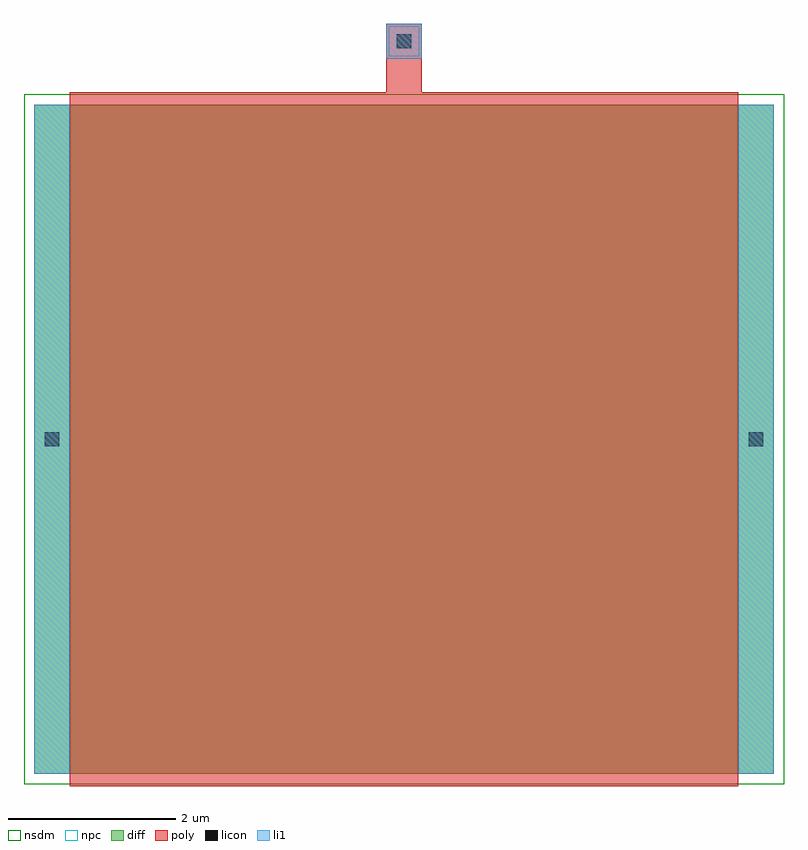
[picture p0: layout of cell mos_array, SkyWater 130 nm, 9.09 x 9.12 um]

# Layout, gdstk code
import gdstk
lib = gdstk.Library(unit=1e-6, precision=1e-09)
def R(c, l, rs):  # rectangles x0, y0, x1, y1
    for r in rs: c.add(gdstk.rectangle(r[:2], r[2:], *l))
diff = (65, 20)
poly = (66, 20)
licon = (66, 44)
li1 = (67, 20)
nsdm = (93, 44)
npc = (95, 20)

mos_array = lib.new_cell('mos_array')
R(mos_array, diff, [(0,0,8.84,8)])
R(mos_array, poly, [(0.42,-0.15,8.42,8), (0.42,8,8.42,8.15), (0.42,8,8.42,8.15), (4.21,8.15,4.63,8.97)])
R(mos_array, licon, [(0.125,3.915,0.295,4.085), (8.545,3.915,8.715,4.085), (4.335,8.675,4.505,8.845)])
R(mos_array, li1, [(0,0,0.42,8), (8.42,0,8.84,8), (4.21,8.55,4.63,8.97)])
R(mos_array, nsdm, [(-0.125,-0.125,8.965,8.125)])
R(mos_array, npc, [(4.24,8.58,4.6,8.94)])

lib.write_gds('mos_array.gds')
